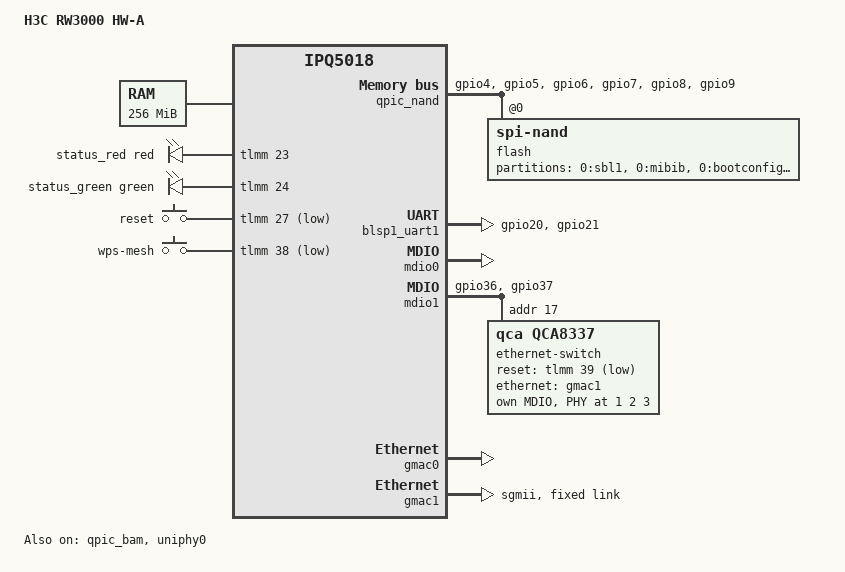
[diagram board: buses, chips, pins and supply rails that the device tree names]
// SPDX-License-Identifier: GPL-2.0-or-later OR MIT

/dts-v1/;

#include <dt-bindings/clock/qcom,gcc-ipq5018.h>
#include <dt-bindings/gpio/gpio.h>
#include <dt-bindings/input/input.h>
#include <dt-bindings/leds/common.h>

/* H3C RW3000 HW-A: stock 256 MiB IPQ5018 wired board. */
#include "ipq5018.dtsi"
#include "ipq5018-ess.dtsi"

/ {
	model = "H3C RW3000 HW-A";
	compatible = "h3c,rw3000-hw-a", "qcom,ipq5018";

	aliases {
		serial0 = &blsp1_uart1;
		ethernet0 = &gmac0;
		led-boot = &status_red;
		led-failsafe = &status_red;
		led-running = &status_green;
		led-upgrade = &status_red;
		label-mac-device = &gmac0;
	};

	memory@40000000 {
		device_type = "memory";
		reg = <0x0 0x40000000 0x0 0x10000000>;
	};

	reserved-memory {
		/* Match this board's unchanged OEM secure-world reservation. */
		tz@4ac00000 {
			reg = <0x0 0x4ac00000 0x0 0x400000>;
		};

		/delete-node/ sbl@4aa00000;
		firmware-sbl@4aa00000 {
			reg = <0x0 0x4aa00000 0x0 0x100000>;
			no-map;
		};
	};

	chosen {
		stdout-path = "serial0:115200n8";
		bootargs-append = " ubi.block=0,rootfs root=/dev/ubiblock0_1 rootfstype=squashfs coherent_pool=2M";
	};
};

/* Board oscillator frequencies from the OEM Linux runtime FDT. */
&sleep_clk {
	clock-frequency = <32000>;
};

&xo_board_clk {
	clock-div = <4>;
	clock-mult = <1>;
};

/* Board-local NAND and wired topology definitions. */


/* Fixed physical slots: only the low system slot is writable.
 * Keep the high OEM recovery slot and all board data read-only.
 */

&qpic_bam {
	status = "okay";
};

&qpic_nand {
	pinctrl-0 = <&h3c_qspi_data_pins &h3c_qspi_cs_pins &h3c_qspi_clk_pins>;
	pinctrl-names = "default";
	status = "okay";

	flash@0 {
		compatible = "spi-nand";
		reg = <0>;
		nand-ecc-engine = <&qpic_nand>;
		/* Matched to the OEM banner; retain QPIC's mainline ECC/OOB layout. */
		nand-ecc-strength = <4>;
		nand-ecc-step-size = <512>;

		partitions {
			compatible = "fixed-partitions";
			#address-cells = <1>;
			#size-cells = <1>;

			partition@0 {
				label = "0:sbl1";
				reg = <0x00000000 0x00080000>;
				read-only;
			};
			partition@80000 {
				label = "0:mibib";
				reg = <0x00080000 0x00080000>;
				read-only;
			};
			partition@100000 {
				label = "0:bootconfig";
				reg = <0x00100000 0x00040000>;
				read-only;
			};
			partition@140000 {
				label = "0:bootconfig1";
				reg = <0x00140000 0x00040000>;
				read-only;
			};
			partition@180000 {
				label = "0:qsee_1";
				reg = <0x00180000 0x00100000>;
				read-only;
			};
			partition@280000 {
				label = "0:qsee";
				reg = <0x00280000 0x00100000>;
				read-only;
			};
			partition@380000 {
				label = "0:devcfg_1";
				reg = <0x00380000 0x00040000>;
				read-only;
			};
			partition@3c0000 {
				label = "0:devcfg";
				reg = <0x003c0000 0x00040000>;
				read-only;
			};
			partition@400000 {
				label = "0:cdt_1";
				reg = <0x00400000 0x00040000>;
				read-only;
			};
			partition@440000 {
				label = "0:cdt";
				reg = <0x00440000 0x00040000>;
				read-only;
			};
			partition@480000 {
				label = "0:appsblenv";
				reg = <0x00480000 0x00080000>;
				read-only;

				/* Verified CRC-protected U-Boot ENV payload size, not the
				 * containing 512 KiB MTD partition size. */
				nvmem-layout {
					compatible = "u-boot,env";
					env-size = <0x40000>;

					appsblenv_ethaddr: ethaddr {
						#nvmem-cell-cells = <1>;
					};
				};
			};
			partition@500000 {
				label = "0:appsbl_1";
				reg = <0x00500000 0x00140000>;
				read-only;
			};
			partition@640000 {
				label = "0:appsbl";
				reg = <0x00640000 0x00140000>;
				read-only;
			};
			partition@780000 {
				label = "0:art";
				reg = <0x00780000 0x00100000>;
				read-only;
			};
			partition@880000 {
				label = "0:training";
				reg = <0x00880000 0x00080000>;
				read-only;
			};
			partition@900000 {
				label = "rootfs";
				reg = <0x00900000 0x02800000>;
			};
			partition@3100000 {
				label = "oem-recovery";
				reg = <0x03100000 0x02800000>;
				read-only;
			};
			partition@5900000 {
				label = "pdt_data";
				reg = <0x05900000 0x00600000>;
				read-only;
			};
			partition@5f00000 {
				label = "pdt_data_1";
				reg = <0x05f00000 0x00600000>;
				read-only;
			};
			partition@6500000 {
				label = "exp";
				reg = <0x06500000 0x00100000>;
				read-only;
			};
			partition@6600000 {
				label = "plugin";
				reg = <0x06600000 0x01700000>;
				read-only;
			};
		};
	};
};


/* OEM runtime DT assigns QSPI NAND to GPIO4-9; use IPQ5018 mainline functions. */
&tlmm {
	h3c_qspi_data_pins: h3c-qspi-data-state {
		pins = "gpio4", "gpio5", "gpio6", "gpio7";
		function = "qspi_data";
		drive-strength = <8>;
		bias-disable;
	};

	h3c_qspi_cs_pins: h3c-qspi-cs-state {
		pins = "gpio8";
		function = "qspi_cs";
		drive-strength = <8>;
		bias-disable;
	};

	h3c_qspi_clk_pins: h3c-qspi-clk-state {
		pins = "gpio9";
		function = "qspi_clk";
		drive-strength = <8>;
		bias-disable;
	};
};


/*
 * Wired topology validated on one unmodified 256 MiB RW3000 HW-A sample.
 * LAN PHY-to-front-panel mapping: switch P2/P3/P4 -> LAN1/LAN2/LAN3.
 * WAN is GMAC0's internal PHY7. QCA8337 CPU port 6 uses SGMII.
 */

&blsp1_uart1 {
	pinctrl-0 = <&h3c_uart_gpio20_21_pins>;
	pinctrl-names = "default";
	status = "okay";
};

&tlmm {
	h3c_uart_gpio20_21_pins: h3c-uart-gpio20-21-state {
		pins = "gpio20", "gpio21";
		function = "blsp0_uart0";
		drive-strength = <8>;
		bias-disable;
	};

	h3c_mdio_pins: h3c-mdio-state {
		mdc-pins {
			pins = "gpio36";
			function = "mdc";
			drive-strength = <8>;
			bias-pull-up;
		};

		mdio-pins {
			pins = "gpio37";
			function = "mdio";
			drive-strength = <8>;
			bias-pull-up;
		};
	};

	h3c_status_led_pins: h3c-status-led-state {
		pins = "gpio23", "gpio24";
		function = "gpio";
		drive-strength = <8>;
		bias-disable;
	};

	h3c_keys_pins: h3c-keys-state {
		pins = "gpio27", "gpio38";
		function = "gpio";
		bias-pull-up;
	};
};

&mdio0 {
	status = "okay";
};

&mdio1 {
	status = "okay";
	clock-frequency = <1562500>;
	pinctrl-0 = <&h3c_mdio_pins>;
	pinctrl-names = "default";

	ethernet-switch@11 {
		compatible = "qca,qca8337";
		reg = <17>;
		reset-gpios = <&tlmm 39 GPIO_ACTIVE_LOW>;

		/* Register built-in PHYs after the switch reset and MDIO setup. */
		mdio {
			#address-cells = <1>;
			#size-cells = <0>;

			switch_phy1: ethernet-phy@1 { reg = <1>; };
			switch_phy2: ethernet-phy@2 { reg = <2>; };
			switch_phy3: ethernet-phy@3 { reg = <3>; };
		};

		ethernet-ports {
			#address-cells = <1>;
			#size-cells = <0>;

			ethernet-port@2 {
				reg = <2>;
				label = "lan1";
				phy-mode = "internal";
				phy-handle = <&switch_phy1>;
			};

			ethernet-port@3 {
				reg = <3>;
				label = "lan2";
				phy-mode = "internal";
				phy-handle = <&switch_phy2>;
			};

			ethernet-port@4 {
				reg = <4>;
				label = "lan3";
				phy-mode = "internal";
				phy-handle = <&switch_phy3>;
			};

			ethernet-port@6 {
				reg = <6>;
				label = "cpu";
				ethernet = <&gmac1>;
				phy-mode = "sgmii";
				qca,sgmii-enable-pll;

				fixed-link {
					speed = <1000>;
					full-duplex;
				};
			};
		};
	};
};

&q6v5_wcss {
	status = "disabled";
};

&usb {
	status = "disabled";
};

&gmac0 {
	status = "okay";
	nvmem-cells = <&appsblenv_ethaddr 0>;
	nvmem-cell-names = "mac-address";
};

&gmac1 {
	status = "okay";
	phy-mode = "sgmii";
	nvmem-cells = <&appsblenv_ethaddr 1>;
	nvmem-cell-names = "mac-address";
	fixed-link {
		speed = <1000>;
		full-duplex;
	};
};

&uniphy0 {
	status = "okay";
	assigned-clocks = <&uniphy0 UNIPHY_CLK_REF>;
	assigned-clock-rates = <UNIPHY_REFCLK_25MHZ>;
};

/ {
	leds {
		compatible = "gpio-leds";
		pinctrl-0 = <&h3c_status_led_pins>;
		pinctrl-names = "default";

		status_red: led-status-red {
			color = <LED_COLOR_ID_RED>;
			function = LED_FUNCTION_STATUS;
			gpios = <&tlmm 23 GPIO_ACTIVE_HIGH>;
			default-state = "off";
		};

		status_green: led-status-green {
			color = <LED_COLOR_ID_GREEN>;
			function = LED_FUNCTION_STATUS;
			gpios = <&tlmm 24 GPIO_ACTIVE_HIGH>;
			default-state = "off";
		};
	};

	keys {
		compatible = "gpio-keys";
		pinctrl-0 = <&h3c_keys_pins>;
		pinctrl-names = "default";

		button-reset {
			label = "reset";
			gpios = <&tlmm 27 GPIO_ACTIVE_LOW>;
			linux,code = <KEY_RESTART>;
		};

		button-wps-mesh {
			label = "wps-mesh";
			gpios = <&tlmm 38 GPIO_ACTIVE_LOW>;
			linux,code = <KEY_WPS_BUTTON>;
		};
	};
};
